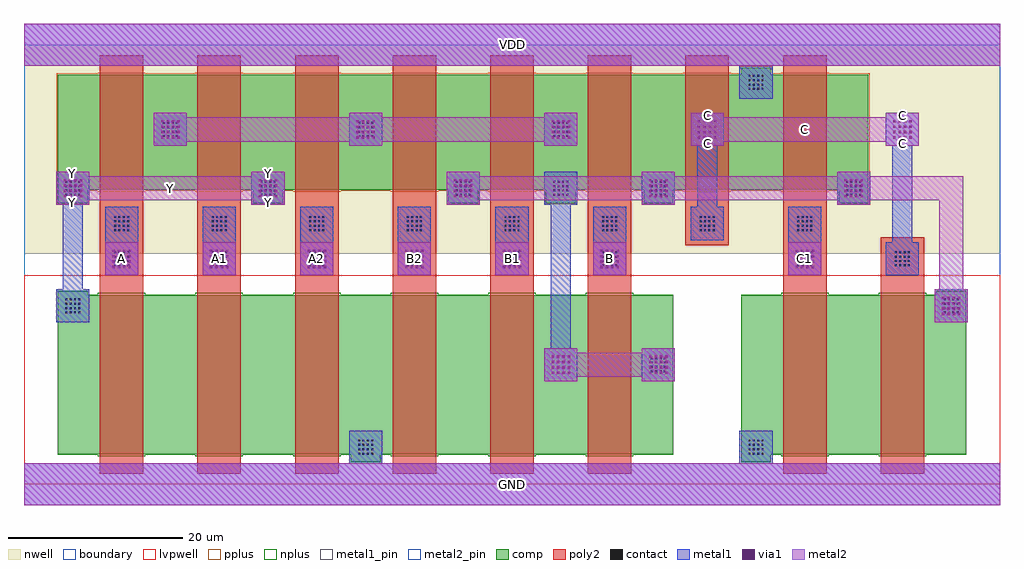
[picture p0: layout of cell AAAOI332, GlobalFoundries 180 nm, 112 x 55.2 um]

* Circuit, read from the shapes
.subckt AAAOI332 A A1 A2 B B1 B2 C C1 GND VDD Y
XM1 n1 A Y VSUBS nfet_03v3 w=18.3u l=5u
XM2 n2 A1 n1 VSUBS nfet_03v3 w=18.3u l=5u
XM3 GND A2 n2 VSUBS nfet_03v3 w=18.3u l=5u
XM4 n3 B2 GND VSUBS nfet_03v3 w=18.3u l=5u
XM5 n4 B1 n3 VSUBS nfet_03v3 w=18.3u l=5u
XM6 n5 B n4 VSUBS nfet_03v3 w=18.3u l=5u
XM7 n6 C1 GND VSUBS nfet_03v3 w=18.3u l=5u
XM8 n7 C n6 VSUBS nfet_03v3 w=18.3u l=5u
XM9 n5 A Y n8 pfet_03v3 w=13.2u l=5u
XM10 Y A1 n5 n8 pfet_03v3 w=13.2u l=5u
XM11 n5 A2 Y n8 pfet_03v3 w=13.2u l=5u
XM12 n7 B2 n5 n8 pfet_03v3 w=13.2u l=5u
XM13 n5 B1 n7 n8 pfet_03v3 w=13.2u l=5u
XM14 n7 B n5 n8 pfet_03v3 w=13.2u l=5u
XM15 VDD C n7 n8 pfet_03v3 w=13.2u l=5u
XM16 n7 C1 VDD n8 pfet_03v3 w=13.2u l=5u
.ends

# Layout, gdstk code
import gdstk
lib = gdstk.Library(unit=1e-6, precision=1e-09)
def R(c, l, rs):  # rectangles x0, y0, x1, y1
    for r in rs: c.add(gdstk.rectangle(r[:2], r[2:], *l))
def A(c, l, x, y, w, h, nx, ny, dx, dy):  # array of equal rectangles
    R(c, l, [(x+i*dx, y+j*dy, x+i*dx+w, y+j*dy+h) for i in range(nx) for j in range(ny)])
boundary = (0, 0)
nwell = (21, 0)
comp = (22, 0)
poly2 = (30, 0)
pplus = (31, 0)
nplus = (32, 0)
contact = (33, 0)
metal1 = (34, 0)
metal1_pin = (34, 10)
via1 = (35, 0)
metal2 = (36, 0)
metal2_pin = (36, 10)
lvpwell = (204, 0)

aaaoi332 = lib.new_cell('AAAOI332')
R(aaaoi332, boundary, [(0,0,112,50.4)])
R(aaaoi332, nwell, [(0,26.45,112,50.4)])
A(aaaoi332, comp, 3.9, 32.25, 3.4, 1.55, 3, 1, 22.4, 0)
R(aaaoi332, comp, [(37.5,2.55,40.9,3.4), (82.3,2.55,85.7,3.4), (3.9,3.4,74.5,21.7), (82.3,3.4,108.1,21.7), (3.9,21.7,7.3,22.15), (104.7,21.7,108.1,22.15), (59.9,32.25,63.3,33.8), (71.1,32.25,74.5,33.8), (93.5,32.25,96.9,33.8), (3.9,33.8,96.9,47), (82.3,47,85.7,47.8)])
A(aaaoi332, poly2, 8.7, 1.2, 5, 48, 6, 1, 11.2, 0)
R(aaaoi332, poly2, [(87.1,1.2,92.1,49.2), (98.3,1.2,103.3,28.35), (75.9,27.4,80.9,49.2)])
A(aaaoi332, pplus, 3.74, 32.09, 3.72, 1.55, 3, 1, 22.4, 0)
A(aaaoi332, pplus, 8.47, 33.57, 5.46, 0.07, 8, 2, 11.2, 13.59)
R(aaaoi332, pplus, [(59.74,32.09,63.46,33.64), (70.94,32.09,74.66,33.64), (93.34,32.09,97.06,33.64), (3.74,33.64,97.06,47.16), (82.14,47.16,85.86,47.96)])
A(aaaoi332, nplus, 8.47, 3.17, 5.46, 0.21, 6, 2, 11.2, 18.55)
R(aaaoi332, nplus, [(37.48,2.53,40.92,3.38), (82.28,2.53,85.72,3.38), (86.87,3.17,92.33,3.38), (98.07,3.17,103.53,3.38), (3.88,3.38,74.52,21.72), (82.28,3.38,108.12,21.72), (3.88,21.72,7.32,22.17), (86.87,21.72,92.33,21.93), (98.07,21.72,103.53,21.93), (104.68,21.72,108.12,22.17)])
A(aaaoi332, contact, 38.34, 3.39, 0.22, 0.22, 4, 4, 0.5, 0.5)
A(aaaoi332, contact, 83.14, 3.39, 0.22, 0.22, 4, 4, 0.5, 0.5)
A(aaaoi332, contact, 71.94, 12.84, 0.22, 0.22, 4, 4, 0.5, 0.5)
A(aaaoi332, contact, 4.74, 19.59, 0.22, 0.22, 4, 4, 0.5, 0.5)
A(aaaoi332, contact, 105.54, 19.59, 0.22, 0.22, 4, 4, 0.5, 0.5)
A(aaaoi332, contact, 10.34, 24.99, 0.22, 0.22, 4, 4, 0.5, 0.5)
A(aaaoi332, contact, 21.54, 24.99, 0.22, 0.22, 4, 4, 0.5, 0.5)
A(aaaoi332, contact, 32.74, 24.99, 0.22, 0.22, 4, 4, 0.5, 0.5)
A(aaaoi332, contact, 43.94, 24.99, 0.22, 0.22, 4, 4, 0.5, 0.5)
A(aaaoi332, contact, 55.14, 24.99, 0.22, 0.22, 4, 4, 0.5, 0.5)
A(aaaoi332, contact, 66.34, 24.99, 0.22, 0.22, 4, 4, 0.5, 0.5)
A(aaaoi332, contact, 88.74, 24.99, 0.22, 0.22, 4, 4, 0.5, 0.5)
A(aaaoi332, contact, 99.94, 24.99, 0.22, 0.22, 4, 4, 0.5, 0.5)
A(aaaoi332, contact, 10.34, 29.04, 0.22, 0.22, 4, 4, 0.5, 0.5)
A(aaaoi332, contact, 21.54, 29.04, 0.22, 0.22, 4, 4, 0.5, 0.5)
A(aaaoi332, contact, 32.74, 29.04, 0.22, 0.22, 4, 4, 0.5, 0.5)
A(aaaoi332, contact, 43.94, 29.04, 0.22, 0.22, 4, 4, 0.5, 0.5)
A(aaaoi332, contact, 55.14, 29.04, 0.22, 0.22, 4, 4, 0.5, 0.5)
A(aaaoi332, contact, 66.34, 29.04, 0.22, 0.22, 4, 4, 0.5, 0.5)
A(aaaoi332, contact, 77.54, 29.04, 0.22, 0.22, 4, 4, 0.5, 0.5)
A(aaaoi332, contact, 88.74, 29.04, 0.22, 0.22, 4, 4, 0.5, 0.5)
A(aaaoi332, contact, 4.74, 33.09, 0.22, 0.22, 4, 4, 0.5, 0.5)
A(aaaoi332, contact, 27.14, 33.09, 0.22, 0.22, 4, 4, 0.5, 0.5)
A(aaaoi332, contact, 49.54, 33.09, 0.22, 0.22, 4, 4, 0.5, 0.5)
A(aaaoi332, contact, 60.74, 33.09, 0.22, 0.22, 4, 4, 0.5, 0.5)
A(aaaoi332, contact, 71.94, 33.09, 0.22, 0.22, 4, 4, 0.5, 0.5)
A(aaaoi332, contact, 94.34, 33.09, 0.22, 0.22, 4, 4, 0.5, 0.5)
A(aaaoi332, contact, 15.94, 39.84, 0.22, 0.22, 4, 4, 0.5, 0.5)
A(aaaoi332, contact, 38.34, 39.84, 0.22, 0.22, 4, 4, 0.5, 0.5)
A(aaaoi332, contact, 60.74, 39.84, 0.22, 0.22, 4, 4, 0.5, 0.5)
A(aaaoi332, contact, 83.14, 45.24, 0.22, 0.22, 4, 4, 0.5, 0.5)
A(aaaoi332, metal1, 9.3, 23.95, 3.8, 7.85, 6, 1, 11.2, 0)
A(aaaoi332, metal1, 3.7, 32.05, 3.8, 3.8, 3, 1, 22.4, 0)
A(aaaoi332, metal1, 14.9, 38.8, 3.8, 3.8, 3, 1, 22.4, 0)
R(aaaoi332, metal1, [(0,-2.4,112,2.4), (37.3,2.4,41.1,6.15), (82.1,2.4,85.9,6.15), (59.7,11.8,63.5,15.6), (70.9,11.8,74.7,15.6), (60.45,15.6,62.75,32.05), (3.7,18.55,7.5,22.35), (104.5,18.55,108.3,22.35), (4.45,22.35,6.75,32.05), (87.7,23.95,91.5,31.8), (98.9,23.95,102.7,27.75), (99.65,27.75,101.95,38.8), (76.5,28,80.3,31.8), (77.25,31.8,79.55,38.8), (59.7,32.05,63.5,35.85), (70.9,32.05,74.7,35.85), (93.3,32.05,97.1,35.85), (76.5,38.8,80.3,42.6), (98.9,38.8,102.7,42.6), (82.1,44.2,85.9,48), (0,48,112,52.8)])
R(aaaoi332, metal1_pin, [(0,-2.4,112,2.4), (0,48,112,52.8)])
A(aaaoi332, via1, 60.54, 12.64, 0.26, 0.26, 4, 4, 0.62, 0.62)
A(aaaoi332, via1, 71.74, 12.64, 0.26, 0.26, 4, 4, 0.62, 0.62)
A(aaaoi332, via1, 105.34, 19.39, 0.26, 0.26, 4, 4, 0.62, 0.62)
A(aaaoi332, via1, 10.14, 24.79, 0.26, 0.26, 4, 4, 0.62, 0.62)
A(aaaoi332, via1, 21.34, 24.79, 0.26, 0.26, 4, 4, 0.62, 0.62)
A(aaaoi332, via1, 32.54, 24.79, 0.26, 0.26, 4, 4, 0.62, 0.62)
A(aaaoi332, via1, 43.74, 24.79, 0.26, 0.26, 4, 4, 0.62, 0.62)
A(aaaoi332, via1, 54.94, 24.79, 0.26, 0.26, 4, 4, 0.62, 0.62)
A(aaaoi332, via1, 66.14, 24.79, 0.26, 0.26, 4, 4, 0.62, 0.62)
A(aaaoi332, via1, 88.54, 24.79, 0.26, 0.26, 4, 4, 0.62, 0.62)
A(aaaoi332, via1, 4.54, 32.89, 0.26, 0.26, 4, 4, 0.62, 0.62)
A(aaaoi332, via1, 26.94, 32.89, 0.26, 0.26, 4, 4, 0.62, 0.62)
A(aaaoi332, via1, 49.34, 32.89, 0.26, 0.26, 4, 4, 0.62, 0.62)
A(aaaoi332, via1, 71.74, 32.89, 0.26, 0.26, 4, 4, 0.62, 0.62)
A(aaaoi332, via1, 94.14, 32.89, 0.26, 0.26, 4, 4, 0.62, 0.62)
A(aaaoi332, via1, 15.74, 39.64, 0.26, 0.26, 4, 4, 0.62, 0.62)
A(aaaoi332, via1, 38.14, 39.64, 0.26, 0.26, 4, 4, 0.62, 0.62)
A(aaaoi332, via1, 60.54, 39.64, 0.26, 0.26, 4, 4, 0.62, 0.62)
A(aaaoi332, via1, 77.34, 39.64, 0.26, 0.26, 4, 4, 0.62, 0.62)
A(aaaoi332, via1, 99.74, 39.64, 0.26, 0.26, 4, 4, 0.62, 0.62)
A(aaaoi332, metal2, 9.3, 23.95, 3.8, 3.8, 6, 1, 11.2, 0)
A(aaaoi332, metal2, 3.7, 32.05, 3.8, 0.5, 5, 2, 22.4, 3.3)
A(aaaoi332, metal2, 14.9, 38.8, 3.8, 0.5, 3, 2, 22.4, 3.3)
R(aaaoi332, metal2, [(0,-2.4,112,2.4), (59.7,11.8,63.5,12.3), (70.9,11.8,74.7,12.3), (59.7,12.3,74.7,15.1), (59.7,15.1,63.5,15.6), (70.9,15.1,74.7,15.6), (104.5,18.55,108.3,22.35), (105,22.35,107.8,32.55), (87.7,23.95,91.5,27.75), (3.7,32.55,29.9,35.35), (48.5,32.55,107.8,35.35), (76.5,38.8,80.3,39.3), (98.9,38.8,102.7,39.3), (14.9,39.3,63.5,42.1), (76.5,39.3,102.7,42.1), (76.5,42.1,80.3,42.6), (98.9,42.1,102.7,42.6), (0,48,112,52.8)])
A(aaaoi332, metal2_pin, 9.3, 23.95, 3.8, 3.8, 6, 1, 11.2, 0)
R(aaaoi332, metal2_pin, [(87.7,23.95,91.5,27.75), (3.7,32.05,7.5,32.55), (26.1,32.05,29.9,32.55), (3.7,32.55,29.9,35.35), (3.7,35.35,7.5,35.85), (26.1,35.35,29.9,35.85), (76.5,38.8,80.3,39.3), (98.9,38.8,102.7,39.3), (76.5,39.3,102.7,42.1), (76.5,42.1,80.3,42.6), (98.9,42.1,102.7,42.6)])
R(aaaoi332, lvpwell, [(0,0,112,23.95)])
aaaoi332.add(gdstk.Label('VDD', (56,50.4), layer=34, texttype=10))
aaaoi332.add(gdstk.Label('GND', (56,0), layer=34, texttype=10))
aaaoi332.add(gdstk.Label('Y', (5.6,32.3), layer=36, texttype=10))
aaaoi332.add(gdstk.Label('Y', (28,32.3), layer=36, texttype=10))
aaaoi332.add(gdstk.Label('Y', (16.8,33.95), layer=36, texttype=10))
aaaoi332.add(gdstk.Label('Y', (5.6,35.6), layer=36, texttype=10))
aaaoi332.add(gdstk.Label('Y', (28,35.6), layer=36, texttype=10))
aaaoi332.add(gdstk.Label('C1', (89.6,25.85), layer=36, texttype=10))
aaaoi332.add(gdstk.Label('B2', (44.8,25.85), layer=36, texttype=10))
aaaoi332.add(gdstk.Label('B1', (56,25.85), layer=36, texttype=10))
aaaoi332.add(gdstk.Label('C', (78.4,39.05), layer=36, texttype=10))
aaaoi332.add(gdstk.Label('C', (100.8,39.05), layer=36, texttype=10))
aaaoi332.add(gdstk.Label('C', (89.6,40.7), layer=36, texttype=10))
aaaoi332.add(gdstk.Label('C', (78.4,42.35), layer=36, texttype=10))
aaaoi332.add(gdstk.Label('C', (100.8,42.35), layer=36, texttype=10))
aaaoi332.add(gdstk.Label('A2', (33.6,25.85), layer=36, texttype=10))
aaaoi332.add(gdstk.Label('A', (11.2,25.85), layer=36, texttype=10))
aaaoi332.add(gdstk.Label('B', (67.2,25.85), layer=36, texttype=10))
aaaoi332.add(gdstk.Label('A1', (22.4,25.85), layer=36, texttype=10))

lib.write_gds('AAAOI332.gds')
